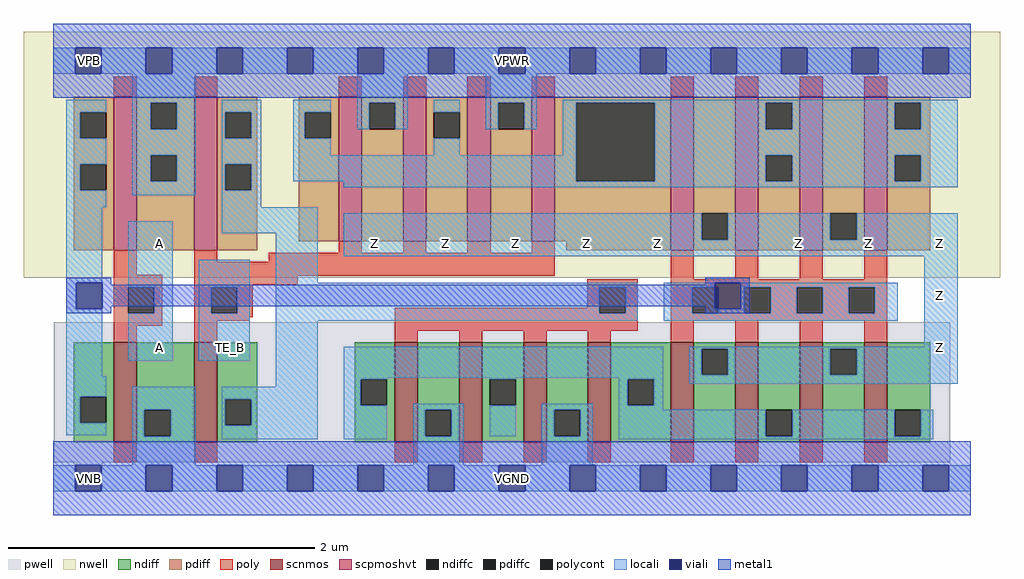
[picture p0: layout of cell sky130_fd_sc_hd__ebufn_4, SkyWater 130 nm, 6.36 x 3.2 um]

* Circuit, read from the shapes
.subckt sky130_fd_sc_hd__ebufn_4 A TE_B VGND VNB VPB VPWR Z
XM1 VGND A n1 VNB sky130_fd_pr__nfet_01v8 w=0.65 l=0.15
XM2 n2 TE_B VGND VNB sky130_fd_pr__nfet_01v8 w=0.65 l=0.15
XM3 VGND n2 n3 VNB sky130_fd_pr__nfet_01v8 w=0.65 l=0.15 m=4
XM4 Z n1 n3 VNB sky130_fd_pr__nfet_01v8 w=0.65 l=0.15 m=4
XM5 VPWR A n1 VPB sky130_fd_pr__pfet_01v8_hvt w=1 l=0.15
XM6 n2 TE_B VPWR VPB sky130_fd_pr__pfet_01v8_hvt w=1 l=0.15
XM7 VPWR TE_B n4 VPB sky130_fd_pr__pfet_01v8_hvt w=0.94 l=0.15 m=4
XM8 Z n1 n4 VPB sky130_fd_pr__pfet_01v8_hvt w=1 l=0.15 m=4
.ends

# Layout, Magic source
magic
tech sky130B
magscale 1 2
<< nwell >>
rect -38 261 1234 582
<< pwell >>
rect 1 21 1169 203
rect 30 -17 64 21
<< scnmos >>
rect 79 47 109 177
rect 184 47 214 177
rect 445 47 475 177
rect 529 47 559 177
rect 613 47 643 177
rect 697 47 727 177
rect 805 47 835 177
rect 889 47 919 177
rect 973 47 1003 177
rect 1057 47 1087 177
<< scpmoshvt >>
rect 79 297 109 497
rect 184 297 214 497
rect 372 309 402 497
rect 456 309 486 497
rect 540 309 570 497
rect 624 309 654 497
rect 805 297 835 497
rect 889 297 919 497
rect 973 297 1003 497
rect 1057 297 1087 497
<< ndiff >>
rect 27 106 79 177
rect 27 72 35 106
rect 69 72 79 106
rect 27 47 79 72
rect 109 89 184 177
rect 109 55 119 89
rect 153 55 184 89
rect 109 47 184 55
rect 214 103 266 177
rect 214 69 224 103
rect 258 69 266 103
rect 214 47 266 69
rect 393 129 445 177
rect 393 95 401 129
rect 435 95 445 129
rect 393 47 445 95
rect 475 89 529 177
rect 475 55 485 89
rect 519 55 529 89
rect 475 47 529 55
rect 559 129 613 177
rect 559 95 569 129
rect 603 95 613 129
rect 559 47 613 95
rect 643 89 697 177
rect 643 55 653 89
rect 687 55 697 89
rect 643 47 697 55
rect 727 129 805 177
rect 727 95 749 129
rect 783 95 805 129
rect 727 47 805 95
rect 835 169 889 177
rect 835 135 845 169
rect 879 135 889 169
rect 835 47 889 135
rect 919 89 973 177
rect 919 55 929 89
rect 963 55 973 89
rect 919 47 973 55
rect 1003 169 1057 177
rect 1003 135 1013 169
rect 1047 135 1057 169
rect 1003 47 1057 135
rect 1087 89 1143 177
rect 1087 55 1097 89
rect 1131 55 1143 89
rect 1087 47 1143 55
<< pdiff >>
rect 27 477 79 497
rect 27 443 35 477
rect 69 443 79 477
rect 27 409 79 443
rect 27 375 35 409
rect 69 375 79 409
rect 27 297 79 375
rect 109 489 184 497
rect 109 455 127 489
rect 161 455 184 489
rect 109 421 184 455
rect 109 387 127 421
rect 161 387 184 421
rect 109 297 184 387
rect 214 477 266 497
rect 214 443 224 477
rect 258 443 266 477
rect 214 409 266 443
rect 214 375 224 409
rect 258 375 266 409
rect 214 297 266 375
rect 320 477 372 497
rect 320 443 328 477
rect 362 443 372 477
rect 320 309 372 443
rect 402 489 456 497
rect 402 455 412 489
rect 446 455 456 489
rect 402 309 456 455
rect 486 477 540 497
rect 486 443 496 477
rect 530 443 540 477
rect 486 309 540 443
rect 570 489 624 497
rect 570 455 580 489
rect 614 455 624 489
rect 570 309 624 455
rect 654 489 805 497
rect 654 387 682 489
rect 784 387 805 489
rect 654 309 805 387
rect 669 297 805 309
rect 835 345 889 497
rect 835 311 845 345
rect 879 311 889 345
rect 835 297 889 311
rect 919 489 973 497
rect 919 455 929 489
rect 963 455 973 489
rect 919 421 973 455
rect 919 387 929 421
rect 963 387 973 421
rect 919 297 973 387
rect 1003 345 1057 497
rect 1003 311 1013 345
rect 1047 311 1057 345
rect 1003 297 1057 311
rect 1087 489 1143 497
rect 1087 455 1097 489
rect 1131 455 1143 489
rect 1087 421 1143 455
rect 1087 387 1097 421
rect 1131 387 1143 421
rect 1087 297 1143 387
<< ndiffc >>
rect 35 72 69 106
rect 119 55 153 89
rect 224 69 258 103
rect 401 95 435 129
rect 485 55 519 89
rect 569 95 603 129
rect 653 55 687 89
rect 749 95 783 129
rect 845 135 879 169
rect 929 55 963 89
rect 1013 135 1047 169
rect 1097 55 1131 89
<< pdiffc >>
rect 35 443 69 477
rect 35 375 69 409
rect 127 455 161 489
rect 127 387 161 421
rect 224 443 258 477
rect 224 375 258 409
rect 328 443 362 477
rect 412 455 446 489
rect 496 443 530 477
rect 580 455 614 489
rect 682 387 784 489
rect 845 311 879 345
rect 929 455 963 489
rect 929 387 963 421
rect 1013 311 1047 345
rect 1097 455 1131 489
rect 1097 387 1131 421
<< poly >>
rect 79 497 109 523
rect 184 497 214 523
rect 372 497 402 523
rect 456 497 486 523
rect 540 497 570 523
rect 624 497 654 523
rect 805 497 835 523
rect 889 497 919 523
rect 973 497 1003 523
rect 1057 497 1087 523
rect 79 265 109 297
rect 184 282 214 297
rect 372 294 402 309
rect 456 294 486 309
rect 540 294 570 309
rect 624 294 654 309
rect 281 282 654 294
rect 79 249 142 265
rect 79 215 98 249
rect 132 215 142 249
rect 79 199 142 215
rect 184 264 654 282
rect 184 252 319 264
rect 805 259 835 297
rect 889 259 919 297
rect 973 259 1003 297
rect 1057 259 1087 297
rect 184 249 260 252
rect 184 215 206 249
rect 240 215 260 249
rect 696 249 762 259
rect 696 222 712 249
rect 184 210 260 215
rect 445 215 712 222
rect 746 215 762 249
rect 184 205 256 210
rect 79 177 109 199
rect 184 177 214 205
rect 445 192 762 215
rect 805 249 1087 259
rect 805 215 833 249
rect 867 215 901 249
rect 935 215 969 249
rect 1003 215 1037 249
rect 1071 215 1087 249
rect 805 205 1087 215
rect 445 177 475 192
rect 529 177 559 192
rect 613 177 643 192
rect 697 177 727 192
rect 805 177 835 205
rect 889 177 919 205
rect 973 177 1003 205
rect 1057 177 1087 205
rect 79 21 109 47
rect 184 21 214 47
rect 445 21 475 47
rect 529 21 559 47
rect 613 21 643 47
rect 697 21 727 47
rect 805 21 835 47
rect 889 21 919 47
rect 973 21 1003 47
rect 1057 21 1087 47
<< polycont >>
rect 98 215 132 249
rect 206 215 240 249
rect 712 215 746 249
rect 833 215 867 249
rect 901 215 935 249
rect 969 215 1003 249
rect 1037 215 1071 249
<< locali >>
rect 0 527 29 561
rect 63 527 121 561
rect 155 527 213 561
rect 247 527 305 561
rect 339 527 397 561
rect 431 527 489 561
rect 523 527 581 561
rect 615 527 673 561
rect 707 527 765 561
rect 799 527 857 561
rect 891 527 949 561
rect 983 527 1041 561
rect 1075 527 1133 561
rect 1167 527 1196 561
rect 17 477 69 493
rect 17 443 35 477
rect 17 409 69 443
rect 17 375 35 409
rect 17 353 69 375
rect 103 489 186 527
rect 103 455 127 489
rect 161 455 186 489
rect 103 421 186 455
rect 103 387 127 421
rect 161 387 186 421
rect 103 369 186 387
rect 220 477 271 493
rect 220 443 224 477
rect 258 443 271 477
rect 220 409 271 443
rect 220 375 224 409
rect 258 375 271 409
rect 313 477 362 493
rect 313 443 328 477
rect 396 489 462 527
rect 396 455 412 489
rect 446 455 462 489
rect 496 477 530 493
rect 313 421 362 443
rect 564 489 630 527
rect 564 455 580 489
rect 614 455 630 489
rect 664 489 1179 493
rect 496 421 530 443
rect 664 421 682 489
rect 313 387 682 421
rect 784 455 929 489
rect 963 455 1097 489
rect 1131 455 1179 489
rect 784 421 1179 455
rect 784 387 929 421
rect 963 387 1097 421
rect 1131 387 1179 421
rect 379 379 1179 387
rect 220 353 271 375
rect 17 255 64 353
rect 17 221 30 255
rect 17 133 64 221
rect 98 249 156 335
rect 220 319 345 353
rect 132 215 156 249
rect 98 153 156 215
rect 190 249 256 285
rect 190 215 206 249
rect 240 215 256 249
rect 190 153 256 215
rect 290 255 345 319
rect 379 311 845 345
rect 879 311 1013 345
rect 1047 311 1179 345
rect 379 289 1179 311
rect 290 249 762 255
rect 290 215 712 249
rect 746 215 762 249
rect 290 205 762 215
rect 796 249 862 255
rect 896 249 1101 255
rect 796 215 833 249
rect 896 221 901 249
rect 867 215 901 221
rect 935 215 969 249
rect 1003 215 1037 249
rect 1071 215 1101 249
rect 796 205 1101 215
rect 17 106 69 133
rect 290 119 345 205
rect 1135 171 1179 289
rect 17 72 35 106
rect 17 56 69 72
rect 103 89 186 119
rect 103 55 119 89
rect 153 55 186 89
rect 103 17 186 55
rect 220 103 345 119
rect 220 69 224 103
rect 258 69 345 103
rect 220 51 345 69
rect 379 131 795 171
rect 379 129 435 131
rect 379 95 401 129
rect 569 129 603 131
rect 379 51 435 95
rect 469 89 535 97
rect 469 55 485 89
rect 519 55 535 89
rect 737 129 795 131
rect 569 55 603 95
rect 637 89 703 97
rect 637 55 653 89
rect 687 55 703 89
rect 469 17 535 55
rect 637 17 703 55
rect 737 95 749 129
rect 783 95 795 129
rect 829 169 1179 171
rect 829 135 845 169
rect 879 135 1013 169
rect 1047 135 1179 169
rect 829 123 1179 135
rect 737 89 795 95
rect 737 55 929 89
rect 963 55 1097 89
rect 1131 55 1147 89
rect 737 51 1147 55
rect 0 -17 29 17
rect 63 -17 121 17
rect 155 -17 213 17
rect 247 -17 305 17
rect 339 -17 397 17
rect 431 -17 489 17
rect 523 -17 581 17
rect 615 -17 673 17
rect 707 -17 765 17
rect 799 -17 857 17
rect 891 -17 949 17
rect 983 -17 1041 17
rect 1075 -17 1133 17
rect 1167 -17 1196 17
<< viali >>
rect 29 527 63 561
rect 121 527 155 561
rect 213 527 247 561
rect 305 527 339 561
rect 397 527 431 561
rect 489 527 523 561
rect 581 527 615 561
rect 673 527 707 561
rect 765 527 799 561
rect 857 527 891 561
rect 949 527 983 561
rect 1041 527 1075 561
rect 1133 527 1167 561
rect 30 221 64 255
rect 862 249 896 255
rect 862 221 867 249
rect 867 221 896 249
rect 29 -17 63 17
rect 121 -17 155 17
rect 213 -17 247 17
rect 305 -17 339 17
rect 397 -17 431 17
rect 489 -17 523 17
rect 581 -17 615 17
rect 673 -17 707 17
rect 765 -17 799 17
rect 857 -17 891 17
rect 949 -17 983 17
rect 1041 -17 1075 17
rect 1133 -17 1167 17
<< metal1 >>
rect 0 561 1196 592
rect 0 527 29 561
rect 63 527 121 561
rect 155 527 213 561
rect 247 527 305 561
rect 339 527 397 561
rect 431 527 489 561
rect 523 527 581 561
rect 615 527 673 561
rect 707 527 765 561
rect 799 527 857 561
rect 891 527 949 561
rect 983 527 1041 561
rect 1075 527 1133 561
rect 1167 527 1196 561
rect 0 496 1196 527
rect 17 255 76 261
rect 17 221 30 255
rect 64 252 76 255
rect 850 255 908 261
rect 850 252 862 255
rect 64 224 862 252
rect 64 221 76 224
rect 17 215 76 221
rect 850 221 862 224
rect 896 221 908 255
rect 850 215 908 221
rect 0 17 1196 48
rect 0 -17 29 17
rect 63 -17 121 17
rect 155 -17 213 17
rect 247 -17 305 17
rect 339 -17 397 17
rect 431 -17 489 17
rect 523 -17 581 17
rect 615 -17 673 17
rect 707 -17 765 17
rect 799 -17 857 17
rect 891 -17 949 17
rect 983 -17 1041 17
rect 1075 -17 1133 17
rect 1167 -17 1196 17
rect 0 -48 1196 -17
<< labels >>
flabel locali s 122 153 156 187 0 FreeSans 200 0 0 0 A
port 1 nsew signal input
flabel locali s 770 289 804 323 0 FreeSans 200 0 0 0 Z
port 7 nsew signal output
flabel locali s 678 289 712 323 0 FreeSans 200 0 0 0 Z
port 7 nsew signal output
flabel locali s 586 289 620 323 0 FreeSans 200 0 0 0 Z
port 7 nsew signal output
flabel locali s 494 289 528 323 0 FreeSans 200 0 0 0 Z
port 7 nsew signal output
flabel locali s 402 289 436 323 0 FreeSans 200 0 0 0 Z
port 7 nsew signal output
flabel locali s 1138 153 1172 187 0 FreeSans 200 0 0 0 Z
port 7 nsew signal output
flabel locali s 1138 221 1172 255 0 FreeSans 200 0 0 0 Z
port 7 nsew signal output
flabel locali s 1138 289 1172 323 0 FreeSans 200 0 0 0 Z
port 7 nsew signal output
flabel locali s 1046 289 1080 323 0 FreeSans 200 0 0 0 Z
port 7 nsew signal output
flabel locali s 954 289 988 323 0 FreeSans 200 0 0 0 Z
port 7 nsew signal output
flabel locali s 214 153 248 187 0 FreeSans 200 0 0 0 TE_B
port 2 nsew signal input
flabel locali s 122 289 156 323 0 FreeSans 200 0 0 0 A
port 1 nsew signal input
flabel pwell s 30 -17 64 17 0 FreeSans 200 0 0 0 VNB
port 4 nsew ground bidirectional
flabel nwell s 30 527 64 561 0 FreeSans 200 0 0 0 VPB
port 5 nsew power bidirectional
flabel metal1 s 30 -17 64 17 0 FreeSans 200 0 0 0 VGND
port 3 nsew ground bidirectional abutment
flabel metal1 s 30 527 64 561 0 FreeSans 200 0 0 0 VPWR
port 6 nsew power bidirectional abutment
rlabel comment s 0 0 0 0 4 ebufn_4
rlabel metal1 s 0 -48 1196 48 1 VGND
port 3 nsew ground bidirectional abutment
rlabel metal1 s 0 496 1196 592 1 VPWR
port 6 nsew power bidirectional abutment
<< properties >>
string FIXED_BBOX 0 0 1196 544
string GDS_END 2941026
string GDS_FILE $PDKPATH/libs.ref/sky130_fd_sc_hd/gds/sky130_fd_sc_hd.gds
string GDS_START 2931580
string LEFclass CORE
string LEFsite unithd
string LEFsymmetry X Y R90
<< end >>
